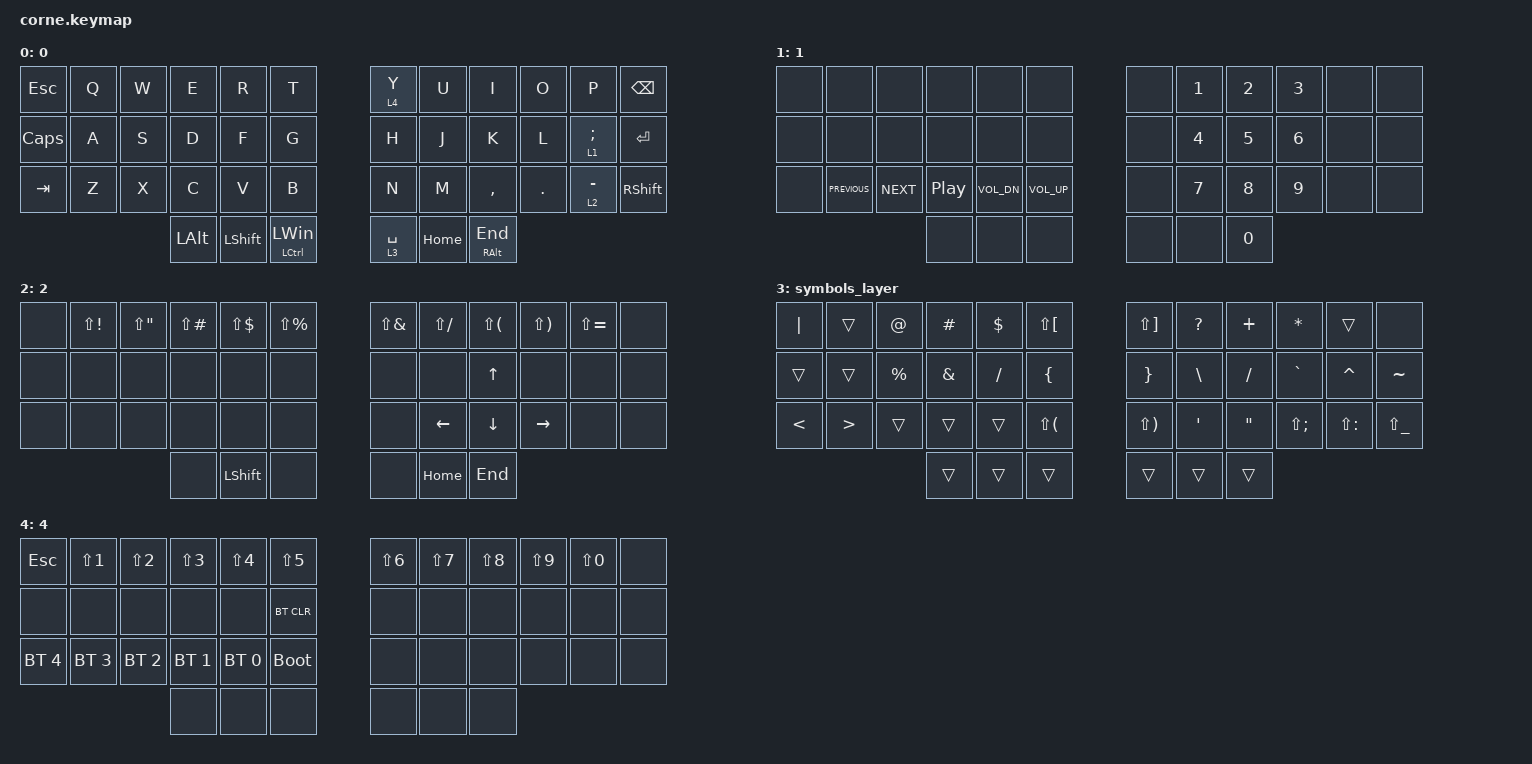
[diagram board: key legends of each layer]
/*
 * Copyright (c) 2020 The ZMK Contributors
 *
 * SPDX-License-Identifier: MIT
 */

#include <behaviors.dtsi>
#include <dt-bindings/zmk/bt.h>
#include <dt-bindings/zmk/keys.h>

#define DEFAULT_L 0
#define SYMBOLS_L 1
#define ARROWS_L  2
#define NUMBERS_L 3

/ {
    behaviors {
        hm: homerow_mods {
            compatible = "zmk,behavior-hold-tap";
            label = "HOMEROW_MODS";
            #binding-cells = <2>;
            tapping-term-ms = <300>;
            quick-tap-ms = <200>;
            flavor = "tap-preferred";
            bindings = <&kp>, <&kp>;
        };
    };

    combos {
        compatible = "zmk,combos";

        a {
            bindings = <&kp ESCAPE>;
            key-positions = <2 1>;
        };

        b {
            bindings = <&kp TAB>;
            key-positions = <14 13>;
        };

        c {
            bindings = <&kp CAPSLOCK>;
            key-positions = <26 25>;
        };

        d {
            bindings = <&kp BACKSPACE>;
            key-positions = <10 9>;
        };

        e {
            bindings = <&kp ENTER>;
            key-positions = <22 21>;
        };

        h {
            bindings = <&sys_reset>;
            key-positions = <1 29>;
        };

        j {
            bindings = <&sys_reset>;
            key-positions = <30 10>;
        };

        Del {
            bindings = <&kp DELETE>;
            key-positions = <9 10 11>;
        };

        accent {
            bindings = <&kp GRAVE>;
            key-positions = <39 38>;
        };

        mute {
            bindings = <&kp C_MUTE>;
            key-positions = <29 28>;
        };

        task_manager {
            bindings = <&kp C_AL_TASK_MANAGER>;
            key-positions = <0 11>;
        };
    };

    keymap {
        compatible = "zmk,keymap";

        default_layer {
            label = "0";
            bindings = <
&kp ESC       &kp Q  &kp W  &kp E         &kp R           &kp T                 &lt 4 Y      &kp U     &kp I              &kp O    &kp P        &kp BSPC
&kp CAPSLOCK  &kp A  &kp S  &kp D         &kp F           &kp G                 &kp H        &kp J     &kp K              &kp L    &lt 1 SEMI   &kp RET
&kp TAB       &kp Z  &kp X  &kp C         &kp V           &kp B                 &kp N        &kp M     &kp COMMA          &kp DOT  &lt 2 MINUS  &kp RSHFT
                            &kp LEFT_ALT  &kp LEFT_SHIFT  &mt LCTRL LEFT_WIN    &lt 3 SPACE  &kp HOME  &mt RIGHT_ALT END
            >;
        };

        number_media_layer {
            label = "1";
            bindings = <
&none  &none           &none       &none             &none         &none              &none  &kp N1  &kp N2  &kp N3  &none  &none
&none  &none           &none       &none             &none         &none              &none  &kp N4  &kp N5  &kp N6  &none  &none
&none  &kp C_PREVIOUS  &kp C_NEXT  &kp C_PLAY_PAUSE  &kp C_VOL_DN  &kp C_VOLUME_UP    &none  &kp N7  &kp N8  &kp N9  &none  &none
                                   &none             &none         &none              &none  &none   &kp N0
            >;
        };

        arrow_topSymbols_layer {
            label = "2";
            bindings = <
&none  &kp LS(EXCL)  &kp LS(DQT)  &kp LS(POUND)  &kp LS(DLLR)    &kp LS(PRCNT)    &kp LS(AMPS)  &kp LS(FSLH)    &kp LS(LPAR)  &kp LS(RPAR)  &kp LS(EQUAL)  &none
&none  &none         &none        &none          &none           &none            &none         &none           &kp UP_ARROW  &none         &none          &none
&none  &none         &none        &none          &none           &none            &none         &kp LEFT_ARROW  &kp DOWN      &kp RIGHT     &none          &none
                                  &none          &kp LEFT_SHIFT  &none            &none         &kp HOME        &kp END
            >;
        };

        symbols_layer {
            bindings = <
&kp PIPE       &trans            &kp AT       &kp HASH       &kp DOLLAR  &kp LS(LBKT)    &kp LS(RBKT)  &kp QUESTION      &kp PLUS           &kp ASTRK     &trans         &none
&trans         &trans            &kp PERCENT  &kp AMPERSAND  &kp SLASH   &kp LBRC        &kp RBRC      &kp BACKSLASH     &kp SLASH          &kp GRAVE     &kp CARET      &kp TILDE
&kp LESS_THAN  &kp GREATER_THAN  &trans       &trans         &trans      &kp LS(LPAR)    &kp LS(RPAR)  &kp SINGLE_QUOTE  &kp DOUBLE_QUOTES  &kp LS(SEMI)  &kp LS(COLON)  &kp LS(UNDER)
                                              &trans         &trans      &trans          &trans        &trans            &trans
            >;
        };

        bt_layer {
            label = "4";
            bindings = <
&kp ESC       &kp LS(N1)    &kp LS(N2)    &kp LS(N3)    &kp LS(N4)    &kp LS(N5)     &kp LS(N6)  &kp LS(N7)  &kp LS(N8)  &kp LS(N9)  &kp LS(N0)  &none
&none         &none         &none         &none         &none         &bt BT_CLR     &none       &none       &none       &none       &none       &none
&bt BT_SEL 4  &bt BT_SEL 3  &bt BT_SEL 2  &bt BT_SEL 1  &bt BT_SEL 0  &bootloader    &none       &none       &none       &none       &none       &none
                                          &none         &none         &none          &none       &none       &none
            >;
        };
    };
};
